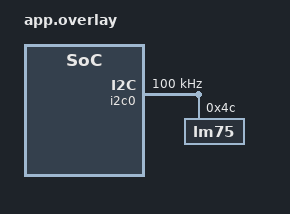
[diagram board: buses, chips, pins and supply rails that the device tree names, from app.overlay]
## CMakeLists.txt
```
# SPDX-License-Identifier: Apache-2.0

cmake_minimum_required(VERSION 3.20.0)

set(BOARD rpi_pico)

# build options
set(OPTION_PATH "${CMAKE_CURRENT_SOURCE_DIR}/options")

## -DCONSOLE=uart1 or usb
if (CONSOLE STREQUAL uart1)
    list(APPEND EXTRA_DTC_OVERLAY_FILE "${OPTION_PATH}/uart1.overlay")
endif()

if (MCUBOOT STREQUAL enable)
    list(APPEND EXTRA_DTC_OVERLAY_FILE "mcuboot.overlay")
    list(APPEND EXTRA_CONF_FILE "mcuboot.conf")
endif()

find_package(Zephyr REQUIRED HINTS $ENV{ZEPHYR_BASE})
project(scsat1-rpi-pico)

target_sources(app PRIVATE
	src/main.c
	src/temp.c
	src/pico_csp.c
)
```

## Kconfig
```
# SPDX-License-Identifier: Apache-2.0

mainmenu "pico: main"

menu "Zephyr Config"
source "Kconfig.zephyr"
endmenu

menu "Logging Config"
module = MAIN
module-str = "pico-main"
source "subsys/logging/Kconfig.template.log_config"
endmenu
```

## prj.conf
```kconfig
CONFIG_GPIO=y
CONFIG_I2C=y
CONFIG_PICOLIBC=y
CONFIG_PICOLIBC_IO_FLOAT=y
CONFIG_LIBCSP=y
CONFIG_SERIAL=y
CONFIG_UART_INTERRUPT_DRIVEN=y
CONFIG_POSIX_API=y
CONFIG_LOG=y
CONFIG_SENSOR=y
CONFIG_LM75=y
```

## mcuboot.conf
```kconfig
CONFIG_BOOTLOADER_MCUBOOT=y
CONFIG_MCUBOOT_GENERATE_UNSIGNED_IMAGE=y
CONFIG_MCUBOOT_IMGTOOL_SIGN_VERSION="1.0.1+0"
```

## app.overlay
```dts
&i2c0 {
	status = "okay";
	clock-frequency = <100000>;

	lm75@4c{
		compatible = "lm75";
		reg = <0x4C>;
	};
};
```

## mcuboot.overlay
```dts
/delete-node/ &code_partition;

/ {
	chosen {
		zephyr,code-partition = &slot0_partition;
	};
};

&flash0 {
	partitions {
		boot_partition: partition@100 {
			label = "mcuboot";
			reg = <0x00000100 0xFF00>;
			read-only;
		};

		slot0_partition: partition@10000 {
			label = "image-0";
			reg = <0x00010000 0x1F0000>;
		};
	};
};
```

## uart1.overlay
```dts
/ {
	chosen {
		zephyr,console = &uart1;
		zephyr,shell-uart = &uart1;
	};
};

&uart1 {
	current-speed = <115200>;
	status = "okay";
	pinctrl-0 = <&uart1_default>;
	pinctrl-names = "default";
};


&pinctrl {
	uart1_default: uart1_default {
		group1 {
			pinmux = <UART1_TX_P8>;
		};
		group2 {
			pinmux = <UART1_RX_P9>;
			input-enable;
		};
	};
};

&i2c0 {
	status = "okay";
	clock-frequency = <100000>;

	lm75@4c{
		compatible = "lm75";
		reg = <0x4C>;
	};
};
```

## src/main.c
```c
/*
 * Copyright (c) 2023 Space Cubics, LLC.
 *
 * SPDX-License-Identifier: Apache-2.0
 */

#include <zephyr/kernel.h>
#include <zephyr/drivers/gpio.h>
#include "pico_csp.h"

int main(void)
{
	const struct gpio_dt_spec led = GPIO_DT_SPEC_GET(DT_ALIAS(led0), gpios);
	int ret;

	if (!gpio_is_ready_dt(&led)) {
		return 0;
	}

	ret = gpio_pin_configure_dt(&led, GPIO_OUTPUT_ACTIVE);
	if (ret < 0) {
		return 0;
	}

	csp_server_start();

	while (true) {
		(void)gpio_pin_toggle_dt(&led);
		k_sleep(K_SECONDS(1));
	}

	return 0;
}
```

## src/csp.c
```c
/*
 * Copyright (c) 2024 Space Cubics, LLC.
 *
 * SPDX-License-Identifier: Apache-2.0
 */

#include <stdlib.h>
#include <zephyr/kernel.h>
#include <csp/csp.h>
#include <csp/drivers/usart.h>

#include <zephyr/logging/log.h>
LOG_MODULE_REGISTER(csp, CONFIG_MAIN_LOG_LEVEL);

#define ROUTER_STACK_SIZE (256U)
#define SERVER_STACK_SIZE (1024U)
#define ROUTER_PRIO       (0U)
#define SERVER_PRIO       (0U)

#define PICO_UART0_DEV      "uart@40034000"
#define PICO_UART0_BAUDRATE (115200U)
#define PICO_UART0_DATABIT  (8U)
#define PICO_UART0_STOPBITS (1U)
#define PICO_UART0_PARITY   (0U)
#define PICO_CSP_ADDR       (14U)

extern csp_conf_t csp_conf;

static void server(void);

static void *router_task(void *param)
{
	while (true) {
		csp_route_work();
	}

	return NULL;
}

static void *server_task(void *p1, void *p2, void *p3)
{
	ARG_UNUSED(p1);
	ARG_UNUSED(p2);
	ARG_UNUSED(p3);

	server();

	return NULL;
}

K_THREAD_DEFINE(router_id, ROUTER_STACK_SIZE, router_task, NULL, NULL, NULL, ROUTER_PRIO, 0,
		K_TICKS_FOREVER);
K_THREAD_DEFINE(server_id, SERVER_STACK_SIZE, server_task, NULL, NULL, NULL, SERVER_PRIO, 0,
		K_TICKS_FOREVER);

static void router_start(void)
{
	k_thread_start(router_id);
}

static void server_start(void)
{
	k_thread_start(server_id);
}

static void server(void)
{
	csp_conn_t *conn;
	csp_socket_t sock = {0};

	LOG_INF("Server task started");

	csp_bind(&sock, CSP_ANY);

	csp_listen(&sock, 10);

	while (true) {
		if ((conn = csp_accept(&sock, 10000)) == NULL) {
			continue;
		}

		csp_packet_t *packet;
		while ((packet = csp_read(conn, 50)) != NULL) {
			switch (csp_conn_dport(conn)) {
			default:
				csp_service_handler(packet);
				break;
			}
		}

		csp_close(conn);
	}

	return;
}

int csp_server_start(void)
{
	int ret = 0;
	csp_conf.version = 1;
	const char *kiss_device = PICO_UART0_DEV;
	csp_iface_t *default_iface = NULL;
	int error;

	csp_init();

	router_start();

	csp_usart_conf_t conf = {.device = kiss_device,
				 .baudrate = PICO_UART0_BAUDRATE,
				 .databits = PICO_UART0_DATABIT,
				 .stopbits = PICO_UART0_STOPBITS,
				 .paritysetting = PICO_UART0_PARITY};
	error = csp_usart_open_and_add_kiss_interface(&conf, CSP_IF_KISS_DEFAULT_NAME,
						      PICO_CSP_ADDR, &default_iface);
	if (error != CSP_ERR_NONE) {
		LOG_ERR("failed to add KISS interface [%s], error: %d", kiss_device, error);
		ret = -1;
		goto end;
	}
	default_iface->is_default = 1;

	server_start();

end:
	return ret;
}
```

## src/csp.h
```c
/*
 * Copyright (c) 2024 Space Cubics, LLC.
 *
 * SPDX-License-Identifier: Apache-2.0
 */

#pragma once

int csp_server_start(void);
```

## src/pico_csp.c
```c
/*
 * Copyright (c) 2024 Space Cubics, LLC.
 *
 * SPDX-License-Identifier: Apache-2.0
 */

#include <stdlib.h>
#include <zephyr/kernel.h>
#include <csp/csp.h>
#include <csp/drivers/usart.h>

#include <zephyr/logging/log.h>
LOG_MODULE_REGISTER(csp, CONFIG_MAIN_LOG_LEVEL);

#include "temp.h"

#define ROUTER_STACK_SIZE (256U)
#define SERVER_STACK_SIZE (1024U)
#define ROUTER_PRIO       (0U)
#define SERVER_PRIO       (0U)

#define PICO_UART0_DEV      "uart@40034000"
#define PICO_UART0_BAUDRATE (115200U)
#define PICO_UART0_DATABIT  (8U)
#define PICO_UART0_STOPBITS (1U)
#define PICO_UART0_PARITY   (0U)
#define PICO_CSP_ADDR       (26U)

#define PORT_T (11U) /* for get temperature */

extern csp_conf_t csp_conf;

static void server(void);

static void *router_task(void *param)
{
	while (true) {
		csp_route_work();
	}

	return NULL;
}

static void *server_task(void *p1, void *p2, void *p3)
{
	ARG_UNUSED(p1);
	ARG_UNUSED(p2);
	ARG_UNUSED(p3);

	server();

	return NULL;
}

K_THREAD_DEFINE(router_id, ROUTER_STACK_SIZE, router_task, NULL, NULL, NULL, ROUTER_PRIO, 0,
		K_TICKS_FOREVER);
K_THREAD_DEFINE(server_id, SERVER_STACK_SIZE, server_task, NULL, NULL, NULL, SERVER_PRIO, 0,
		K_TICKS_FOREVER);

static void router_start(void)
{
	k_thread_start(router_id);
}

static void server_start(void)
{
	k_thread_start(server_id);
}

static void server(void)
{
	csp_conn_t *conn;
	csp_socket_t sock = {0};

	LOG_INF("Server task started");

	csp_bind(&sock, CSP_ANY);

	csp_listen(&sock, 10);

	while (true) {
		if ((conn = csp_accept(&sock, 10000)) == NULL) {
			continue;
		}

		csp_packet_t *packet;
		while ((packet = csp_read(conn, 50)) != NULL) {
			switch (csp_conn_dport(conn)) {
			case PORT_T:
				float temp;
				int result = get_temp(&temp);
				if (result < 0) {
					LOG_ERR("Failed to get temperature");
					csp_buffer_free(packet);
				} else {
					LOG_DBG("Temperature: %.2f celsius", (double)temp);
					memcpy(packet->data, &temp, sizeof(temp));
					packet->length = sizeof(temp);
					csp_send(conn, packet);
				}
			default:
				csp_service_handler(packet);
				break;
			}
		}

		csp_close(conn);
	}

	return;
}

int csp_server_start(void)
{
	int ret = 0;
	csp_conf.version = 1;
	const char *kiss_device = PICO_UART0_DEV;
	csp_iface_t *default_iface = NULL;
	int error;

	csp_init();

	router_start();

	csp_usart_conf_t conf = {.device = kiss_device,
				 .baudrate = PICO_UART0_BAUDRATE,
				 .databits = PICO_UART0_DATABIT,
				 .stopbits = PICO_UART0_STOPBITS,
				 .paritysetting = PICO_UART0_PARITY};
	error = csp_usart_open_and_add_kiss_interface(&conf, CSP_IF_KISS_DEFAULT_NAME,
						      PICO_CSP_ADDR, &default_iface);
	if (error != CSP_ERR_NONE) {
		LOG_ERR("failed to add KISS interface [%s], error: %d", kiss_device, error);
		ret = -1;
		goto end;
	}
	default_iface->is_default = 1;

	server_start();

end:
	return ret;
}
```

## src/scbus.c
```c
/*
 * Copyright (c) 2024 Space Cubics, LLC.
 *
 * SPDX-License-Identifier: Apache-2.0
 */

#include <stdint.h>
#include <zephyr/kernel.h>

#include <zephyr/logging/log.h>
LOG_MODULE_REGISTER(scbus);

#define SOF_MAX_FN       (0x7FF)
#define SOF_FN_OK        (0U)
#define SOF_FN_DROPPED   (2U)
#define SOF_FN_NOCHANGED (3U)

static inline uint16_t scbus_get_sof_fn(void)
{
	return (sys_read32(0x50110048) & SOF_MAX_FN);
}

static bool verify_increment_sof_fn(uint16_t latest, int16_t prev)
{
	if (prev == -1) {
		/* First received SOF */
		return true;
	}

	if ((prev == SOF_MAX_FN) && (latest == 0)) {
		return true;
	}

	if ((latest - prev) == 1) {
		return true;
	}

	return false;
}

void scbus_init(void)
{
	uint32_t reg;

	/* Clock Enable */
	sys_write32(0x000000C0, 0x400080b4);

	/* USB core reset */
	reg = sys_read32(0x4000c000);
	reg |= 0x01000000;

	sys_write32(reg, 0x4000c000);
	reg &= 0xFEFFFFFF;
	sys_write32(reg, 0x4000c000);

	/* Connect to PHY */
	sys_write32(0x00000009, 0x50110074);

	/* VBUS detect */
	sys_write32(0x0000000C, 0x50110078);

	/* USB Enable */
	sys_write32(0x00000001, 0x50110040);

	/* D+ Pullup */
	sys_write32(0x00010000, 0x5011004C);
};

void scbus_verify_sof_fn(void)
{
	uint16_t latest;
	static uint8_t sof_err = SOF_FN_NOCHANGED;
	static uint8_t sof_drop = 0;
	static int16_t previous = -1;
	static uint32_t last_output_ms = 0;
	static bool output = false;
	uint32_t uptime_ms = k_uptime_get_32();

	latest = scbus_get_sof_fn();
	if (latest == previous) {
		goto check;
	}

	if (verify_increment_sof_fn(latest, previous)) {
		if (sof_err != SOF_FN_DROPPED) {
			sof_err = SOF_FN_OK;
		}
	} else {
		sof_err = SOF_FN_DROPPED;
		sof_drop++;
	}
	previous = latest;

check:
	if (last_output_ms == 0) {
		output = true;
	} else if ((uptime_ms - last_output_ms) >= 1000) {
		output = true;
	}

	if (output) {
		printf("%d,%x,%d\n", sof_err, latest, sof_drop);
		last_output_ms = uptime_ms;
		output = false;
		sof_err = SOF_FN_NOCHANGED;
	}

	return;
}
```

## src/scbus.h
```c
/*
 * Copyright (c) 2024 Space Cubics, LLC.
 *
 * SPDX-License-Identifier: Apache-2.0
 */

#pragma once

int scbus_init(void);
void scbus_verify_sof_fn(void);
```

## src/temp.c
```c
/*
 * Copyright (c) 2024 Space Cubics, LLC.
 *
 * SPDX-License-Identifier: Apache-2.0
 */

#include "temp.h"

#include <zephyr/drivers/i2c.h>
#include <zephyr/device.h>
#include <zephyr/devicetree.h>
#include <zephyr/drivers/sensor.h>

#include <zephyr/logging/log.h>
LOG_MODULE_REGISTER(temp, LOG_LEVEL_DBG);

int get_temp(float *temp) {

	const struct device *const temp_sensor = DEVICE_DT_GET_ANY(lm75);
	struct sensor_value temp_val;
	int r;
	int rc;

    	if (!device_is_ready(temp_sensor)) {
		LOG_ERR("Temperature sensor device not ready");
		return -ENODEV;
	}

	if (temp == NULL) {
		return -EINVAL;
	}

	rc = sensor_sample_fetch(temp_sensor);
	if ( rc < 0 ) {
		LOG_ERR("Failed to fetch sensor data, error: %d", rc);
		return rc;
	}

	r = sensor_channel_get(temp_sensor, SENSOR_CHAN_AMBIENT_TEMP, &temp_val);
	if ( r < 0 ) {
		LOG_ERR("Failed to get sensor data, error: %d", r);
		return r;
	}

	*temp = (float)(temp_val.val1 + (float)(temp_val.val2) /1000000.0f);
	LOG_DBG("Temperature: %d.%06d°C", temp_val.val1, temp_val.val2);

    	return 0;
}
```

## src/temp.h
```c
/*
 * Copyright (c) 2024 Space Cubics, LLC.
 *
 * SPDX-License-Identifier: Apache-2.0
 */

#pragma once

int get_temp(float *temp);
```
